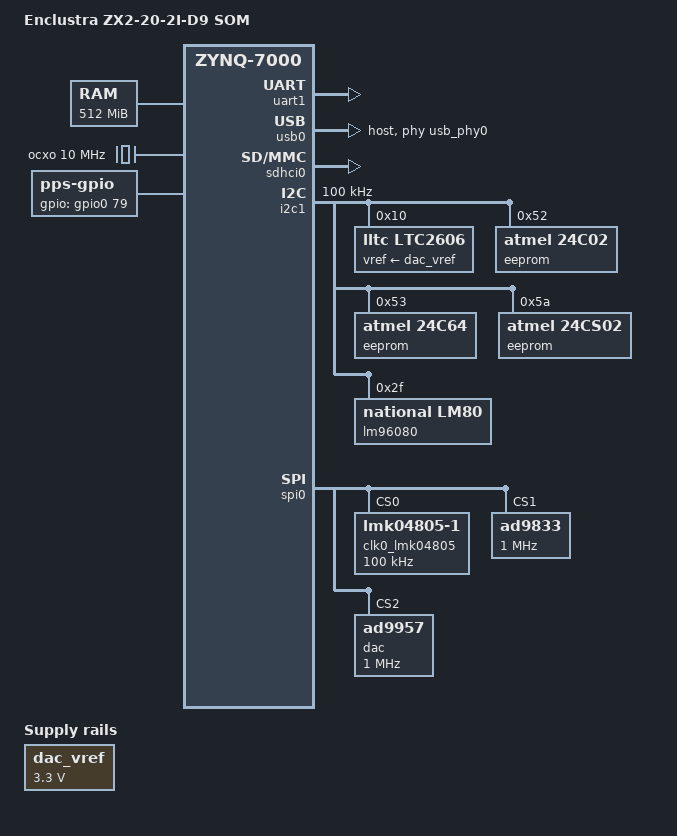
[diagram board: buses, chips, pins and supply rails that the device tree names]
/dts-v1/;

#include "zynq-7000.dtsi"
#include "zynq_enclustra_common.dtsi"
#include "zynq_enclustra_mars_zx2.dtsi"
#include <dt-bindings/interrupt-controller/irq.h>

/*
 *
 * * * * * * * * * * *
 * IRQ PL->PS
 * * * * * * * * * * *
 * 61  IRQ_F2P[0]
 * 62  IRQ_F2P[1]
 * 63  IRQ_F2P[2]
 * 64  IRQ_F2P[3]
 * 65  IRQ_F2P[4]
 * 66  IRQ_F2P[5]
 * 67  IRQ_F2P[6]
 * 68  IRQ_F2P[7]
 * 84  IRQ_F2P[8]
 * 85  IRQ_F2P[9]
 * 86  IRQ_F2P[10]
 * 87  IRQ_F2P[11]
 * 88  IRQ_F2P[12]
 * 89  IRQ_F2P[13]
 * 90  IRQ_F2P[14]
 * 91  IRQ_F2P[15]
 * * * * * * * * * * *
 * The IRQ Number in the devicetree
 * is determined as follows:
 * for IRQ_F2P: IRQ_devicetree = IRQ - 32
 */


/ {
	model = "Enclustra ZX2-20-2I-D9 SOM";

	chosen {
		bootargs = "console=ttyPS0,115200 earlycon earlyprintk root=/dev/mmcblk0p2 rw rootfstype=ext4 rootwait";
		stdout-path = "serial0:115200n8";
	};

	aliases {
		ethernet0 = &gem0;
		i2c0 = &i2c0;
		i2c1 = &i2c1;
		serial0 = &uart0;
		serial1 = &uart1;
		spi0 = &qspi;
	};

	memory {
		device_type = "memory";
		reg = <0x0 0x20000000>;
	};

	usb_phy0: phy0 {
		compatible = "usb-nop-xceiv";
		#phy-cells = <0>;
		reg = <0xe0002000 0x1000>;
		view-port = <0x0170>;
		drv-vbus;
	};

	fpga_axi: fpga-axi@0 {
		compatible = "simple-bus";
		#address-cells = <0x1>;
		#size-cells = <0x1>;
		ranges;



		tx0_dma: tx0-dmac@43c00000 {
			compatible = "adi,axi-dmac-1.00.a";
			reg = <0x43c00000 0x10000>;
			#dma-cells = <1>;
			interrupts = <0 29 IRQ_TYPE_LEVEL_HIGH>;
			interrupt-parent = <&intc>;
			clocks = <&clkc 16>;

			adi,channels {
				#size-cells = <0>;
				#address-cells = <1>;

				dma-channel@0 {
					reg = <0>;
					adi,source-bus-width = <64>;
					adi,source-bus-type = <0>;
					adi,destination-bus-width = <32>;
					adi,destination-bus-type = <2>;
				};
			};
		};

		tx1_dma: tx0-dmac@43c10000 {
			compatible = "adi,axi-dmac-1.00.a";
			reg = <0x43c10000 0x10000>;
			#dma-cells = <1>;
			interrupts = <0 30 IRQ_TYPE_LEVEL_HIGH>;
			interrupt-parent = <&intc>;
			clocks = <&clkc 16>;

			adi,channels {
				#size-cells = <0>;
				#address-cells = <1>;

				dma-channel@0 {
					reg = <0>;
					adi,source-bus-width = <64>;
					adi,source-bus-type = <0>;
					adi,destination-bus-width = <32>;
					adi,destination-bus-type = <2>;
				};
			};
		};

		dexter_dsp_tx: dexter_dsp_tx@43D00000 {
			compatible = "fpga,dexter-dsp-tx";
			reg = <0x43D00000 0x10000>;
			clocks = <&dac>;
			clock-names = "dac_clk";
		};
	};

	ocxo: ocxo_osc {
		#clock-cells = <0>;
		compatible = "fixed-clock";
		clock-frequency = <10000000>;
	};

	dac_vref: regulator-3v3 {
		compatible = "regulator-fixed";
		regulator-name = "3v3";
		regulator-min-microvolt = <3300000>;
		regulator-max-microvolt = <3300000>;
		regulator-always-on;
	};

	pps: pps@gpio25 {
		gpios = <&gpio0 79 0>;
		assert-falling-edge;
		compatible = "pps-gpio";
	};
};

&uart1 {
	status = "okay";
};

&usb0 {
	status = "okay";
	dr_mode = "host";
	usb-phy = <&usb_phy0>;
};

&sdhci0 {
	u-boot,dm-pre-reloc;
	status = "okay";
	disable-wp;
	max-frequency = <26000000>;
};

&flash0 {
	partition@qspi-bootimage {
		label = "qspi-bootimage";
		reg = <0x00000000 0x00600000>;
	};
	partition@qspi-kernel {
		label = "qspi-kernel";
		reg = <0x00600000 0x00500000>;
	};
	partition@qspi-device-tree {
		label = "qspi-device-tree";
		reg = <0x00B00000 0x00080000>;
	};
	partition@qspi-bootargs {
		label = "qspi-bootargs";
		reg = <0x03F80000 0x00080000>;
	};
	partition@qspi-bootscript {
		label = "qspi-bootscript";
		reg = <0x00B80000 0x00080000>;
	};
	partition@qspi-rootfs {
		label = "qspi-rootfs";
		reg = <0x00C00000 0x03380000>;
	};
};

&i2c1 {
	status = "okay";
	clock-frequency = <100000>;

	ltc2606@10 {
		reg = <0x10>;
		compatible = "lltc,ltc2606";
		vref-supply = <&dac_vref>;
	};

	eeprom@52 {				// TX Modules Sec.AT24MAC402 EEPROM
		compatible = "atmel,24c02";
		reg = <0x52>;
		pagesize = <16>;
	};

	eeprom@53 { 				// Baseboard EEPROM
		compatible = "atmel,24c64";
		reg = <0x53>;
		pagesize = <32>;
	};

	eeprom@5a {				// TX Modules Sec.AT24MAC402 EEPROM Serial
		compatible = "atmel,24cs02";
		reg = <0x5a>;
		pagesize = <1>;
		//read-only;
	};

	lm96080@2f {
		compatible = "national,lm80";
		reg = <0x2f>;
	};
};

&spi0 {
	status = "okay";

	clk0_lmk04805: lmk04805@0 {
		#address-cells = <1>;
		#size-cells = <0>;
		#clock-cells = <1>;
		compatible = "lmk04805-1";
		reg = <0>;
		spi-max-frequency = <100000>;
		clock-output-names = "lmk04805-lpc_out0", "lmk04805-lpc_out1", "lmk04805-lpc_out2", "lmk04805-lpc_out3", "lmk04805-lpc_out4", "lmk04805-lpc_out5", "lmk04805-lpc_out6", "lmk04805-lpc_out7", "lmk04805-lpc_out8", "lmk04805-lpc_out9", "lmk04805-lpc_out10", "lmk04805-lpc_out11";
		lmk,pll1-r = <4>; // PDF1 = 3072kHz / 2 = 1536kHz
		lmk,pll1-n = <160>;
		lmk,pll1-cp-gain = <0>;
		lmk,vcxo-freq = <122880000>;
		lmk,pll2-r = <1>;
		lmk,pll2-p = <2>;
		lmk,pll2-n = <8>; // vco_freq = vcxfo_freq * p * n * / r * 2x(en) = 1966.08MHz
		lmk,vco-mode = <0>; // Dual PLL, Int VCO

		lmk04805_0_c0:channel@0 {
			reg = <0>;
			lmk,extended-name = "CLKout0";
			lmk,clock-divider = <56>;
			lmk,out-type = <0>; // 0: power down, 1: lvds, 2: LVPECL 700mV 3: LVPECL 1200mV, 4: LVPECL 1600mV, 5: LVPECL 2000mV, 6: LVCMOS (Norm/Inv), 7: Norm/Norm, 8: ...
			lmk,powerdown;
		};

		lmk04805_0_c1:channel@1 {
			reg = <1>;
			lmk,extended-name = "CLKout1";
			lmk,clock-divider = <56>;
			lmk,out-type = <0>;
			lmk,powerdown;
		};

		lmk04805_0_c2:channel@2 {
			reg = <2>;
			lmk,extended-name = "CLKout2";
			lmk,clock-divider = <2>;
			lmk,out-type = <0>;
			lmk,powerdown;
		};

		lmk04805_0_c3:channel@3 {
			reg = <3>;
			lmk,extended-name = "CLKout3";
			lmk,clock-divider = <2>;
			lmk,out-type = <0>;
			lmk,powerdown;
		};

		lmk04805_0_c4:channel@4 {
			reg = <4>;
			lmk,extended-name = "CLKout4";
			lmk,clock-divider = <20>;
			lmk,out-type = <0>;
			lmk,powerdown;
		};

		lmk04805_0_c5:channel@5 {
			reg = <5>;
			lmk,extended-name = "CLKout5";
			lmk,clock-divider = <20>;
			lmk,out-type = <0>;
			lmk,powerdown;
		};

		lmk04805_0_c6:channel@6 {
			reg = <6>;
			lmk,extended-name = "CLKout6";
			lmk,clock-divider = <2>;
			lmk,out-type = <0>;
			lmk,powerdown;
		};

		lmk04805_0_c7:channel@7 {
			reg = <7>;
			lmk,extended-name = "DAC_CLK";
			lmk,clock-divider = <2>;
			lmk,out-type = <4>;
		};

		lmk04805_0_c8:channel@8 {
			reg = <8>;
			lmk,extended-name = "CLKout8";
			lmk,clock-divider = <12>;
			lmk,out-type = <0>;
			lmk,powerdown;
		};

		lmk04805_0_c9:channel@9 {
			reg = <9>;
			lmk,extended-name = "FPGA_CLK";
			lmk,clock-divider = <12>;
			lmk,out-type = <1>;
			lmk,powerdown;
		};

		lmk04805_0_c10:channel@10 {
			reg = <10>;
			lmk,extended-name = "CLKout10";
			lmk,clock-divider = <12>;
			lmk,out-type = <0>;
			lmk,powerdown;
		};

		lmk04805_0_c11:channel@11 {
			reg = <11>;
			lmk,extended-name = "ADC_CLK";
			lmk,clock-divider = <12>;
			lmk,out-type = <4>;
		};
	};

	ad9833@1{
		#clock-cells = <0>;
		compatible = "ad9833";
		reg = <1>;
		spi-max-frequency = <1000000>;
		spi-cpol;
		clocks = <&ocxo>;
		dds,frequency0 = <3072000>;
		dds,phase0 = <0>;
		dds,frequency1 = <3072000>;
		dds,phase1 = <4096>;
		dds,output-enable;
	};

	dac: ad9957@2{
		#address-cells = <1>;
		#size-cells = <0>;
		#clock-cells = <0>;
		compatible = "ad9957";
		reg = <2>;
		spi-max-frequency = <1000000>;
		clocks = <&clk0_lmk04805 7>;
		clock-names = "clk";
		dmas = <&tx0_dma 0>, <&tx1_dma 0>;
		dma-names = "tx0", "tx1";
	};

	/* spidev@2{
		#address-cells = <1>;
		#size-cells = <0>;
		compatible = "spidev";
		reg = <2>;
		spi-max-frequency = <1000000>;
	}; */
};
